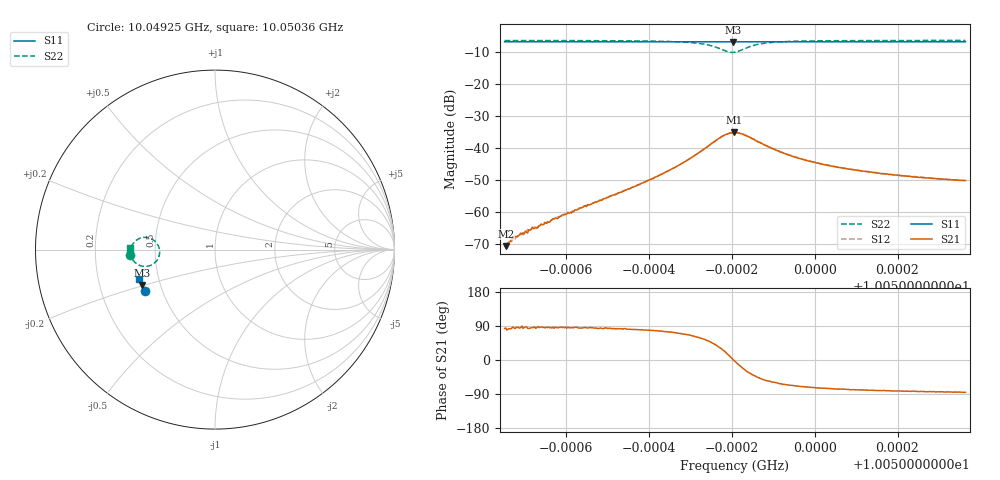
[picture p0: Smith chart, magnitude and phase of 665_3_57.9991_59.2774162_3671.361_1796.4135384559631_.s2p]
#  HZ  S  RI  R  50.00
! Rohde & Schwarz Vector Network Analyzer
! Rohde-Schwarz,ZNB20-2Port,1311601062101988,3.16
! Created: UTC 3/21/2024, 1:20:08 AM
! freq[Hz]  re:S11  im:S11  re:S21  im:S21  re:S12  im:S12  re:S22  im:S22
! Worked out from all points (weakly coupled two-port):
!   401 points, 10.04925 GHz to 10.05036 GHz, reference 50 ohm
!   highest |S21| = -35.24 dB at 10.04981 GHz (marker M1); lowest = -70.7 dB at 10.04925 GHz (marker M2)
!   lowest |S11| = -6.9 dB at 10.0498 GHz (marker M3), VSWR 2.65, Z = 19.8 - j9.91 ohm
!   |S11| at or under -10 dB: nowhere
!   |S22| runs from -10.2 to -6.5 dB; largest |S21 - S12| = 0.0015
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1.0049252e10  -0.3905 -0.2322  3.48e-05 0.00029  -4.1e-06 0.000288  -0.4738 -0.03
1.0049255e10  -0.3906 -0.2322  2.91e-05 0.00029  2.16e-05 0.000303  -0.474 -0.0298
1.0049274e10  -0.3913 -0.2309  3.19e-05 0.000378  3.31e-05 0.000395  -0.4739 -0.0279
1.0049308e10  -0.3923 -0.2291  5.36e-05 0.000461  1.05e-05 0.000527  -0.4739 -0.0246
1.0049371e10  -0.3942 -0.2253  8.41e-05 0.000765  5.16e-06 0.00077  -0.4736 -0.0177
1.0049438e10  -0.3965 -0.2213  0.000122 0.00115  3.48e-05 0.00116  -0.4725 -0.00974
1.0049558e10  -0.4 -0.2142  0.000379 0.00232  0.000226 0.00236  -0.4684 0.0091
1.0049624e10  -0.402 -0.2102  0.000847 0.0036  0.000627 0.00365  -0.4619 0.0247
1.0049686e10  -0.4035 -0.2062  0.00223 0.00555  0.00185 0.00569  -0.4458 0.0456
1.0049727e10  -0.4046 -0.2034  0.00487 0.0075  0.00435 0.00776  -0.4179 0.0635
1.0049755e10  -0.4049 -0.2018  0.00874 0.0083  0.00808 0.00884  -0.3799 0.0678
1.004978e10  -0.4051 -0.2003  0.014 0.00662  0.0134 0.00728  -0.3322 0.0446
1.0049802e10  -0.405 -0.1995  0.0172 0.000625  0.0171 0.00208  -0.3085 -0.0127
1.0049805e10  -0.4053 -0.1995  0.0173 -0.000291  0.0174 0.00116  -0.3089 -0.021
1.0049808e10  -0.4052 -0.1994  0.0172 -0.00106  0.0173 0.000299  -0.3102 -0.0292
1.0049838e10  -0.4064 -0.1985  0.0128 -0.00785  0.0136 -0.00694  -0.3604 -0.0884
1.0049877e10  -0.4082 -0.1964  0.00682 -0.00881  0.00763 -0.00841  -0.4203 -0.0879
1.0049936e10  -0.41 -0.1928  0.00317 -0.00707  0.00369 -0.00692  -0.4544 -0.0622
1.0049994e10  -0.4117 -0.1892  0.00183 -0.00572  0.00221 -0.00565  -0.4657 -0.0433
1.005008e10  -0.414 -0.1838  0.000998 -0.00452  0.00127 -0.00452  -0.4718 -0.0249
1.005018e10  -0.4166 -0.1776  0.000581 -0.00374  0.000831 -0.00377  -0.4742 -0.0103
1.0050364e10  -0.4209 -0.1663  0.000247 -0.00306  0.000454 -0.00306  -0.4755 0.00943
